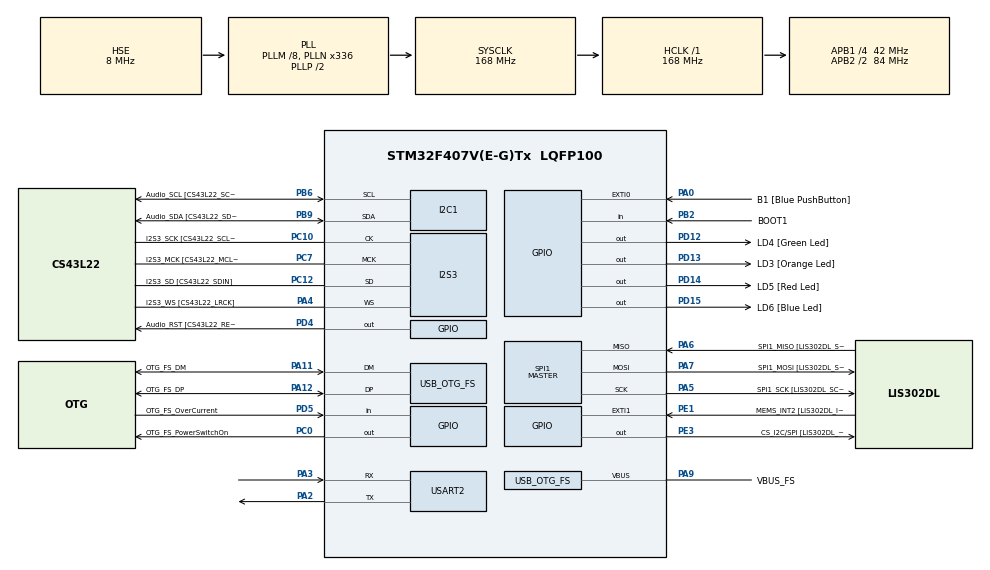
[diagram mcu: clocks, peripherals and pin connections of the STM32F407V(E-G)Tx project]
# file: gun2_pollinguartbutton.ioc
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I2S3.AudioFreq-Half_Duplex_Master=I2S_AUDIOFREQ_96K
I2S3.ErrorAudioFreq=-2.34 %
I2S3.ErrorAudioFreq-Half_Duplex_Master=0.8 %
I2S3.FullDuplexMode=I2S_FULLDUPLEXMODE_DISABLE
I2S3.Instance=SPI$Index
I2S3.RealAudioFreq=93.75 KHz
I2S3.RealAudioFreq-Half_Duplex_Master=96.774 KHz
I2S3.VirtualMode=I2S_MODE_MASTER
Mcu.Family=STM32F4
Mcu.Name=STM32F407V(E-G)Tx
Mcu.Package=LQFP100
NVIC.OTG_FS_IRQn=true\:0\:0\:false\:false\:true\:true\:true\:true
NVIC.PriorityGroup=NVIC_PRIORITYGROUP_0
PA0-WKUP.GPIO_Label=B1 [Blue PushButton]
PA0-WKUP.GPIO_ModeDefaultEXTI=GPIO_MODE_EVT_RISING
PA0-WKUP.GPIO_PuPd=GPIO_NOPULL
PA0-WKUP.Signal=GPXTI0
PA10.GPIO_Label=OTG_FS_ID
PA10.GPIO_Mode=GPIO_MODE_AF_PP
PA10.GPIO_PuPd=GPIO_NOPULL
PA10.GPIO_Speed=GPIO_SPEED_FREQ_LOW
PA10.Signal=USB_OTG_FS_ID
PA11.GPIO_Label=OTG_FS_DM
PA11.GPIO_Mode=GPIO_MODE_AF_PP
PA11.GPIO_PuPd=GPIO_NOPULL
PA11.GPIO_Speed=GPIO_SPEED_FREQ_LOW
PA11.Mode=Host_Only
PA11.Signal=USB_OTG_FS_DM
PA12.GPIO_Label=OTG_FS_DP
PA12.GPIO_Mode=GPIO_MODE_AF_PP
PA12.GPIO_PuPd=GPIO_NOPULL
PA12.GPIO_Speed=GPIO_SPEED_FREQ_LOW
PA12.Mode=Host_Only
PA12.Signal=USB_OTG_FS_DP
PA13.GPIO_Label=SWDIO
PA13.Mode=Serial_Wire
PA13.Signal=SYS_JTMS-SWDIO
PA14.GPIO_Label=SWCLK
PA14.Mode=Serial_Wire
PA14.Signal=SYS_JTCK-SWCLK
PA2.Mode=Asynchronous
PA2.Signal=USART2_TX
PA3.Mode=Asynchronous
PA3.Signal=USART2_RX
PA4.GPIO_Label=I2S3_WS [CS43L22_LRCK]
PA4.GPIO_Mode=GPIO_MODE_AF_PP
PA4.GPIO_PuPd=GPIO_NOPULL
PA4.GPIO_Speed=GPIO_SPEED_FREQ_LOW
PA4.Mode=Half_Duplex_Master
PA4.Signal=I2S3_WS
PA5.GPIO_Label=SPI1_SCK [LIS302DL_SCL/SPC]
PA5.GPIO_Mode=GPIO_MODE_AF_PP
PA5.GPIO_PuPd=GPIO_NOPULL
PA5.GPIO_Speed=GPIO_SPEED_FREQ_LOW
PA5.Mode=Full_Duplex_Master
PA5.Signal=SPI1_SCK
PA6.GPIO_Label=SPI1_MISO [LIS302DL_SDO]
PA6.GPIO_Mode=GPIO_MODE_AF_PP
PA6.GPIO_PuPd=GPIO_NOPULL
PA6.GPIO_Speed=GPIO_SPEED_FREQ_LOW
PA6.Mode=Full_Duplex_Master
PA6.Signal=SPI1_MISO
PA7.GPIO_Label=SPI1_MOSI [LIS302DL_SDA/SDI/SDO]
PA7.GPIO_Mode=GPIO_MODE_AF_PP
PA7.GPIO_PuPd=GPIO_NOPULL
PA7.GPIO_Speed=GPIO_SPEED_FREQ_LOW
PA7.Mode=Full_Duplex_Master
PA7.Signal=SPI1_MOSI
PA9.GPIO_Label=VBUS_FS
PA9.GPIO_Mode=GPIO_MODE_INPUT
PA9.GPIO_PuPd=GPIO_NOPULL
PA9.Mode=Activate_VBUS
PA9.Signal=USB_OTG_FS_VBUS
PB10.GPIO_Label=CLK_IN [MP45DT02_CLK]
PB10.GPIO_Mode=GPIO_MODE_AF_PP
PB10.GPIO_PuPd=GPIO_NOPULL
PB10.GPIO_Speed=GPIO_SPEED_FREQ_LOW
PB10.Signal=I2S2_CK
PB2.GPIO_Label=BOOT1
PB2.GPIO_Mode=GPIO_MODE_INPUT
PB2.GPIO_PuPd=GPIO_NOPULL
PB2.Signal=GPIO_Input
PB3.GPIO_Label=SWO
PB3.Signal=SYS_JTDO-SWO
PB6.GPIO_Label=Audio_SCL [CS43L22_SCL]
PB6.GPIO_Mode=GPIO_MODE_AF_OD
PB6.GPIO_Pu=GPIO_PULLUP
PB6.GPIO_PuPd=GPIO_NOPULL
PB6.GPIO_Speed=GPIO_SPEED_FREQ_LOW
PB6.Mode=I2C
PB6.Signal=I2C1_SCL
PB9.GPIO_Label=Audio_SDA [CS43L22_SDA]
PB9.GPIO_Mode=GPIO_MODE_AF_OD
PB9.GPIO_Pu=GPIO_PULLUP
PB9.GPIO_PuPd=GPIO_NOPULL
PB9.GPIO_Speed=GPIO_SPEED_FREQ_LOW
PB9.Mode=I2C
PB9.Signal=I2C1_SDA
PC0.GPIO_Label=OTG_FS_PowerSwitchOn
PC0.GPIO_PuPd=GPIO_NOPULL
PC0.GPIO_Speed=GPIO_SPEED_FREQ_LOW
PC0.PinState=GPIO_PIN_SET
PC0.Signal=GPIO_Output
PC10.GPIO_Label=I2S3_SCK [CS43L22_SCLK]
PC10.GPIO_Mode=GPIO_MODE_AF_PP
PC10.GPIO_PuPd=GPIO_NOPULL
PC10.GPIO_Speed=GPIO_SPEED_FREQ_LOW
PC10.Mode=Half_Duplex_Master
PC10.Signal=I2S3_CK
PC12.GPIO_Label=I2S3_SD [CS43L22_SDIN]
PC12.GPIO_Mode=GPIO_MODE_AF_PP
PC12.GPIO_PuPd=GPIO_NOPULL
PC12.GPIO_Speed=GPIO_SPEED_FREQ_LOW
PC12.Mode=Half_Duplex_Master
PC12.Signal=I2S3_SD
PC14-OSC32_IN.GPIO_Label=PC14-OSC32_IN
PC14-OSC32_IN.Mode=LSE-External-Oscillator
PC14-OSC32_IN.Signal=RCC_OSC32_IN
PC15-OSC32_OUT.GPIO_Label=PC15-OSC32_OUT
PC15-OSC32_OUT.Mode=LSE-External-Oscillator
PC15-OSC32_OUT.Signal=RCC_OSC32_OUT
PC3.GPIO_Label=PDM_OUT [MP45DT02_DOUT]
PC3.GPIO_Mode=GPIO_MODE_AF_PP
PC3.GPIO_PuPd=GPIO_NOPULL
PC3.GPIO_Speed=GPIO_SPEED_FREQ_LOW
PC3.Signal=I2S2_SD
PC7.GPIO_Label=I2S3_MCK [CS43L22_MCLK]
PC7.GPIO_Mode=GPIO_MODE_AF_PP
PC7.GPIO_PuPd=GPIO_NOPULL
PC7.GPIO_Speed=GPIO_SPEED_FREQ_LOW
PC7.Mode=Master_Clock_Activated
PC7.Signal=I2S3_MCK
PD12.GPIO_Label=LD4 [Green Led]
PD12.GPIO_PuPd=GPIO_NOPULL
PD12.GPIO_Speed=GPIO_SPEED_FREQ_LOW
PD12.Signal=GPIO_Output
PD13.GPIO_Label=LD3 [Orange Led]
PD13.GPIO_PuPd=GPIO_NOPULL
PD13.GPIO_Speed=GPIO_SPEED_FREQ_LOW
PD13.Signal=GPIO_Output
PD14.GPIO_Label=LD5 [Red Led]
PD14.GPIO_PuPd=GPIO_NOPULL
PD14.GPIO_Speed=GPIO_SPEED_FREQ_LOW
PD14.Signal=GPIO_Output
PD15.GPIO_Label=LD6 [Blue Led]
PD15.GPIO_PuPd=GPIO_NOPULL
PD15.GPIO_Speed=GPIO_SPEED_FREQ_LOW
PD15.Signal=GPIO_Output
PD4.GPIO_Label=Audio_RST [CS43L22_RESET]
PD4.GPIO_PuPd=GPIO_NOPULL
PD4.GPIO_Speed=GPIO_SPEED_FREQ_LOW
PD4.Signal=GPIO_Output
PD5.GPIO_Label=OTG_FS_OverCurrent
PD5.GPIO_Mode=GPIO_MODE_INPUT
PD5.GPIO_PuPd=GPIO_NOPULL
PD5.Signal=GPIO_Input
PE1.GPIO_Label=MEMS_INT2 [LIS302DL_INT2]
PE1.GPIO_ModeDefaultEXTI=GPIO_MODE_EVT_RISING
PE1.GPIO_PuPd=GPIO_NOPULL
PE1.Signal=GPXTI1
PE3.GPIO_Label=CS_I2C/SPI [LIS302DL_CS_I2C/SPI]
PE3.GPIO_PuPd=GPIO_NOPULL
PE3.GPIO_Speed=GPIO_SPEED_FREQ_LOW
PE3.Signal=GPIO_Output
PH0-OSC_IN.GPIO_Label=PH0-OSC_IN
PH0-OSC_IN.Mode=HSE-External-Oscillator
PH0-OSC_IN.Signal=RCC_OSC_IN
PH1-OSC_OUT.GPIO_Label=PH1-OSC_OUT
PH1-OSC_OUT.Mode=HSE-External-Oscillator
PH1-OSC_OUT.Signal=RCC_OSC_OUT
ProjectManager.HeapSize=0x200
ProjectManager.StackSize=0x400
ProjectManager.TargetToolchain=STM32CubeIDE
RCC.48MHZClocksFreq_Value=48000000
RCC.AHBFreq_Value=168000000
RCC.APB1CLKDivider=RCC_HCLK_DIV4
RCC.APB1Freq_Value=42000000
RCC.APB1TimFreq_Value=84000000
RCC.APB2CLKDivider=RCC_HCLK_DIV2
RCC.APB2Freq_Value=84000000
RCC.APB2TimFreq_Value=168000000
RCC.CortexFreq_Value=168000000
RCC.HCLKFreq_Value=168000000
RCC.HSE_VALUE=8000000
RCC.HSI_VALUE=16000000
RCC.PLLM=8
RCC.PLLN=336
RCC.PLLQ=7
RCC.SYSCLKFreq_VALUE=168000000
RCC.SYSCLKSource=RCC_SYSCLKSOURCE_PLLCLK
RCC.VCOOutputFreq_Value=336000000
SPI1.BaudRatePrescaler-Full_Duplex_Master=SPI_BAUDRATEPRESCALER_2
SPI1.CalculateBaudRate-Full_Duplex_Master=42.0 MBits/s
SPI1.Direction=SPI_DIRECTION_2LINES
SPI1.Mode=SPI_MODE_MASTER
SPI1.Mode-Full_Duplex_Master=SPI_MODE_MASTER
SPI1.VirtualType=VM_MASTER
USART2.VirtualMode=VM_ASYNC
USB_HOST.BSP.number=1
USB_HOST.USBH_HandleTypeDef-CDC_FS=hUsbHostFS
USB_HOST.VirtualModeFS=Cdc
USB_HOST0.BSP.STBoard=false
USB_HOST0.BSP.api=Unknown
USB_HOST0.BSP.i2caddr=0
USB_HOST0.BSP.i2creg=0
USB_HOST0.BSP.instance=PC0
USB_HOST0.BSP.ip=GPIO
USB_HOST0.BSP.mode=Output
USB_HOST0.BSP.name=Drive_VBUS_FS
USB_HOST0.BSP.solution=PC0
USB_OTG_FS.VirtualMode=Host_Only
USB_OTG_FS.phy_itface=HCD_PHY_EMBEDDED
VP_USB_HOST_VS_USB_HOST_CDC_FS.Mode=CDC_FS
board=STM32F407G-DISC1

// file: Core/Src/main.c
/* USER CODE BEGIN Header */
/**
  ******************************************************************************
  * @file           : main.c
  * @brief          : Main program body
  ******************************************************************************
  * @attention
  *
  * Copyright (c) 2022 STMicroelectronics.
  * All rights reserved.
  *
  * This software is licensed under terms that can be found in the LICENSE file
  * in the root directory of this software component.
  * If no LICENSE file comes with this software, it is provided AS-IS.
  *
  ******************************************************************************
  */
/* USER CODE END Header */
#include "main.h"

/* USER CODE BEGIN Includes */
#include "button.h"
#include "led.h"
#include "string.h"
/* USER CODE END Includes */

 I2C_HandleTypeDef hi2c1;

I2S_HandleTypeDef hi2s3;

SPI_HandleTypeDef hspi1;

UART_HandleTypeDef huart2;

/* USER CODE BEGIN PV */
uint8_t status = 0;
uint8_t toplam = 0;
uint8_t checksum = 0;
char rbuffer[5];
uint8_t i = 0;
/* USER CODE END PV */

void SystemClock_Config(void);
static void MX_GPIO_Init(void);
static void MX_I2C1_Init(void);
static void MX_I2S3_Init(void);
static void MX_SPI1_Init(void);
static void MX_USART2_UART_Init(void);
void MX_USB_HOST_Process(void);

int main(void)
{

  /* MCU Configuration--------------------------------------------------------*/

  /* Reset of all peripherals, Initializes the Flash interface and the Systick. */
  HAL_Init();

  /* Configure the system clock */
  SystemClock_Config();

  /* Initialize all configured peripherals */
  MX_GPIO_Init();
  MX_I2C1_Init();
  MX_I2S3_Init();
  MX_SPI1_Init();
  MX_USART2_UART_Init();

  /* Infinite loop */
  while (1)
  {

    /* USER CODE BEGIN 3 */

	  HAL_Delay(100);

	  	  	if (status==0 &&  (HAL_GPIO_ReadPin(GPIOA,GPIO_PIN_0)==GPIO_PIN_RESET))
	  	  	{
	  	  		//while((HAL_GPIO_ReadPin(GPIOA,button6Stream_Pin)==GPIO_PIN_SET));

	  	  		status=0;
	  	  	}
	  	  	//sadece buton low olduğunda ve status=0 olduğunda buton flagini 1 yapıyoruz ve buton okuması gerçekleştiriyoruz
	  	  	else if( (status==0 &&  HAL_GPIO_ReadPin(GPIOA,GPIO_PIN_0)==GPIO_PIN_SET) )
	  	  	{
	  	  		status=1;

	  	  		button();
	  	  	}
	  	  	else if (status==1 &&  (HAL_GPIO_ReadPin(GPIOA,GPIO_PIN_0)==GPIO_PIN_RESET))
	  	  	{
	  	  		status=0;
	  	  	}
	  	  	else if (status==1 &&  (HAL_GPIO_ReadPin(GPIOA,GPIO_PIN_0)==GPIO_PIN_SET))
	  	  	{
	  	  		status=1;
	  	  	}
	  	  	else {}

	   	   HAL_UART_Receive(&huart2, (uint8_t*)rbuffer, 1 , 100);

	  	  	if (rbuffer[0] != '\0')
	  	  	{
	  	  		led();
	  	  		memset(rbuffer,'\0',sizeof(rbuffer));
	  	  	}

  }
  /* USER CODE END 3 */
}

void SystemClock_Config(void)
{
  RCC_OscInitTypeDef RCC_OscInitStruct = {0};
  RCC_ClkInitTypeDef RCC_ClkInitStruct = {0};

  /** Configure the main internal regulator output voltage
  */
  __HAL_RCC_PWR_CLK_ENABLE();
  __HAL_PWR_VOLTAGESCALING_CONFIG(PWR_REGULATOR_VOLTAGE_SCALE1);

  /** Initializes the RCC Oscillators according to the specified parameters
  * in the RCC_OscInitTypeDef structure.
  */
  RCC_OscInitStruct.OscillatorType = RCC_OSCILLATORTYPE_HSE;
  RCC_OscInitStruct.HSEState = RCC_HSE_ON;
  RCC_OscInitStruct.PLL.PLLState = RCC_PLL_ON;
  RCC_OscInitStruct.PLL.PLLSource = RCC_PLLSOURCE_HSE;
  RCC_OscInitStruct.PLL.PLLM = 8;
  RCC_OscInitStruct.PLL.PLLN = 336;
  RCC_OscInitStruct.PLL.PLLP = RCC_PLLP_DIV2;
  RCC_OscInitStruct.PLL.PLLQ = 7;
  if (HAL_RCC_OscConfig(&RCC_OscInitStruct) != HAL_OK)
  {
    Error_Handler();
  }

  /** Initializes the CPU, AHB and APB buses clocks
  */
  RCC_ClkInitStruct.ClockType = RCC_CLOCKTYPE_HCLK|RCC_CLOCKTYPE_SYSCLK
                              |RCC_CLOCKTYPE_PCLK1|RCC_CLOCKTYPE_PCLK2;
  RCC_ClkInitStruct.SYSCLKSource = RCC_SYSCLKSOURCE_PLLCLK;
  RCC_ClkInitStruct.AHBCLKDivider = RCC_SYSCLK_DIV1;
  RCC_ClkInitStruct.APB1CLKDivider = RCC_HCLK_DIV4;
  RCC_ClkInitStruct.APB2CLKDivider = RCC_HCLK_DIV2;

  if (HAL_RCC_ClockConfig(&RCC_ClkInitStruct, FLASH_LATENCY_5) != HAL_OK)
  {
    Error_Handler();
  }
}

static void MX_I2C1_Init(void)
{

  hi2c1.Instance = I2C1;
  hi2c1.Init.ClockSpeed = 100000;
  hi2c1.Init.DutyCycle = I2C_DUTYCYCLE_2;
  hi2c1.Init.OwnAddress1 = 0;
  hi2c1.Init.AddressingMode = I2C_ADDRESSINGMODE_7BIT;
  hi2c1.Init.DualAddressMode = I2C_DUALADDRESS_DISABLE;
  hi2c1.Init.OwnAddress2 = 0;
  hi2c1.Init.GeneralCallMode = I2C_GENERALCALL_DISABLE;
  hi2c1.Init.NoStretchMode = I2C_NOSTRETCH_DISABLE;
  if (HAL_I2C_Init(&hi2c1) != HAL_OK)
  {
    Error_Handler();
  }

}

static void MX_I2S3_Init(void)
{

  hi2s3.Instance = SPI3;
  hi2s3.Init.Mode = I2S_MODE_MASTER_TX;
  hi2s3.Init.Standard = I2S_STANDARD_PHILIPS;
  hi2s3.Init.DataFormat = I2S_DATAFORMAT_16B;
  hi2s3.Init.MCLKOutput = I2S_MCLKOUTPUT_ENABLE;
  hi2s3.Init.AudioFreq = I2S_AUDIOFREQ_96K;
  hi2s3.Init.CPOL = I2S_CPOL_LOW;
  hi2s3.Init.ClockSource = I2S_CLOCK_PLL;
  hi2s3.Init.FullDuplexMode = I2S_FULLDUPLEXMODE_DISABLE;
  if (HAL_I2S_Init(&hi2s3) != HAL_OK)
  {
    Error_Handler();
  }

}

static void MX_SPI1_Init(void)
{

  /* SPI1 parameter configuration*/
  hspi1.Instance = SPI1;
  hspi1.Init.Mode = SPI_MODE_MASTER;
  hspi1.Init.Direction = SPI_DIRECTION_2LINES;
  hspi1.Init.DataSize = SPI_DATASIZE_8BIT;
  hspi1.Init.CLKPolarity = SPI_POLARITY_LOW;
  hspi1.Init.CLKPhase = SPI_PHASE_1EDGE;
  hspi1.Init.NSS = SPI_NSS_SOFT;
  hspi1.Init.BaudRatePrescaler = SPI_BAUDRATEPRESCALER_2;
  hspi1.Init.FirstBit = SPI_FIRSTBIT_MSB;
  hspi1.Init.TIMode = SPI_TIMODE_DISABLE;
  hspi1.Init.CRCCalculation = SPI_CRCCALCULATION_DISABLE;
  hspi1.Init.CRCPolynomial = 10;
  if (HAL_SPI_Init(&hspi1) != HAL_OK)
  {
    Error_Handler();
  }

}

static void MX_USART2_UART_Init(void)
{

  huart2.Instance = USART2;
  huart2.Init.BaudRate = 115200;
  huart2.Init.WordLength = UART_WORDLENGTH_8B;
  huart2.Init.StopBits = UART_STOPBITS_1;
  huart2.Init.Parity = UART_PARITY_NONE;
  huart2.Init.Mode = UART_MODE_TX_RX;
  huart2.Init.HwFlowCtl = UART_HWCONTROL_NONE;
  huart2.Init.OverSampling = UART_OVERSAMPLING_16;
  if (HAL_UART_Init(&huart2) != HAL_OK)
  {
    Error_Handler();
  }

}

static void MX_GPIO_Init(void)
{
  GPIO_InitTypeDef GPIO_InitStruct = {0};

  /* GPIO Ports Clock Enable */
  __HAL_RCC_GPIOE_CLK_ENABLE();
  __HAL_RCC_GPIOC_CLK_ENABLE();
  __HAL_RCC_GPIOH_CLK_ENABLE();
  __HAL_RCC_GPIOA_CLK_ENABLE();
  __HAL_RCC_GPIOB_CLK_ENABLE();
  __HAL_RCC_GPIOD_CLK_ENABLE();

  /*Configure GPIO pin Output Level */
  HAL_GPIO_WritePin(CS_I2C_SPI_GPIO_Port, CS_I2C_SPI_Pin, GPIO_PIN_RESET);

  /*Configure GPIO pin Output Level */
  HAL_GPIO_WritePin(OTG_FS_PowerSwitchOn_GPIO_Port, OTG_FS_PowerSwitchOn_Pin, GPIO_PIN_SET);

  /*Configure GPIO pin Output Level */
  HAL_GPIO_WritePin(GPIOD, LD4_Pin|LD3_Pin|LD5_Pin|LD6_Pin
                          |Audio_RST_Pin, GPIO_PIN_RESET);

  /*Configure GPIO pin : CS_I2C_SPI_Pin */
  GPIO_InitStruct.Pin = CS_I2C_SPI_Pin;
  GPIO_InitStruct.Mode = GPIO_MODE_OUTPUT_PP;
  GPIO_InitStruct.Pull = GPIO_NOPULL;
  GPIO_InitStruct.Speed = GPIO_SPEED_FREQ_LOW;
  HAL_GPIO_Init(CS_I2C_SPI_GPIO_Port, &GPIO_InitStruct);

  /*Configure GPIO pin : OTG_FS_PowerSwitchOn_Pin */
  GPIO_InitStruct.Pin = OTG_FS_PowerSwitchOn_Pin;
  GPIO_InitStruct.Mode = GPIO_MODE_OUTPUT_PP;
  GPIO_InitStruct.Pull = GPIO_NOPULL;
  GPIO_InitStruct.Speed = GPIO_SPEED_FREQ_LOW;
  HAL_GPIO_Init(OTG_FS_PowerSwitchOn_GPIO_Port, &GPIO_InitStruct);

  /*Configure GPIO pin : PDM_OUT_Pin */
  GPIO_InitStruct.Pin = PDM_OUT_Pin;
  GPIO_InitStruct.Mode = GPIO_MODE_AF_PP;
  GPIO_InitStruct.Pull = GPIO_NOPULL;
  GPIO_InitStruct.Speed = GPIO_SPEED_FREQ_LOW;
  GPIO_InitStruct.Alternate = GPIO_AF5_SPI2;
  HAL_GPIO_Init(PDM_OUT_GPIO_Port, &GPIO_InitStruct);

  /*Configure GPIO pin : B1_Pin */
  GPIO_InitStruct.Pin = B1_Pin;
  GPIO_InitStruct.Mode = GPIO_MODE_EVT_RISING;
  GPIO_InitStruct.Pull = GPIO_NOPULL;
  HAL_GPIO_Init(B1_GPIO_Port, &GPIO_InitStruct);

  /*Configure GPIO pin : BOOT1_Pin */
  GPIO_InitStruct.Pin = BOOT1_Pin;
  GPIO_InitStruct.Mode = GPIO_MODE_INPUT;
  GPIO_InitStruct.Pull = GPIO_NOPULL;
  HAL_GPIO_Init(BOOT1_GPIO_Port, &GPIO_InitStruct);

  /*Configure GPIO pin : CLK_IN_Pin */
  GPIO_InitStruct.Pin = CLK_IN_Pin;
  GPIO_InitStruct.Mode = GPIO_MODE_AF_PP;
  GPIO_InitStruct.Pull = GPIO_NOPULL;
  GPIO_InitStruct.Speed = GPIO_SPEED_FREQ_LOW;
  GPIO_InitStruct.Alternate = GPIO_AF5_SPI2;
  HAL_GPIO_Init(CLK_IN_GPIO_Port, &GPIO_InitStruct);

  /*Configure GPIO pins : LD4_Pin LD3_Pin LD5_Pin LD6_Pin
                           Audio_RST_Pin */
  GPIO_InitStruct.Pin = LD4_Pin|LD3_Pin|LD5_Pin|LD6_Pin
                          |Audio_RST_Pin;
  GPIO_InitStruct.Mode = GPIO_MODE_OUTPUT_PP;
  GPIO_InitStruct.Pull = GPIO_NOPULL;
  GPIO_InitStruct.Speed = GPIO_SPEED_FREQ_LOW;
  HAL_GPIO_Init(GPIOD, &GPIO_InitStruct);

  /*Configure GPIO pin : OTG_FS_OverCurrent_Pin */
  GPIO_InitStruct.Pin = OTG_FS_OverCurrent_Pin;
  GPIO_InitStruct.Mode = GPIO_MODE_INPUT;
  GPIO_InitStruct.Pull = GPIO_NOPULL;
  HAL_GPIO_Init(OTG_FS_OverCurrent_GPIO_Port, &GPIO_InitStruct);

  /*Configure GPIO pin : MEMS_INT2_Pin */
  GPIO_InitStruct.Pin = MEMS_INT2_Pin;
  GPIO_InitStruct.Mode = GPIO_MODE_EVT_RISING;
  GPIO_InitStruct.Pull = GPIO_NOPULL;
  HAL_GPIO_Init(MEMS_INT2_GPIO_Port, &GPIO_InitStruct);

}

void Error_Handler(void)
{
  __disable_irq();
  while (1)
  {
  }
}
